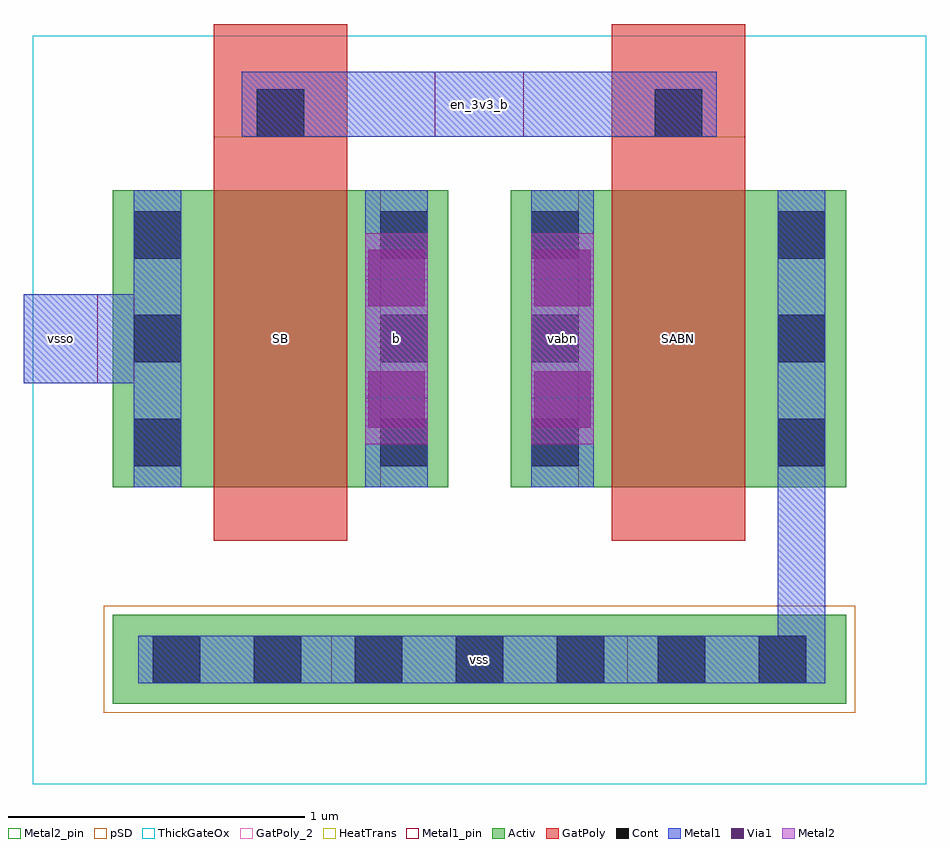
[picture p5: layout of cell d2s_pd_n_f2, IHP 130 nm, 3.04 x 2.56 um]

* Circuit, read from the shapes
.subckt d2s_pd_n_f2 b en_3v3_b vabn vss vsso
XM1 b en_3v3_b vsso vss sg13_hv_nmos w=1u l=0.45u
XM2 vss en_3v3_b vabn vss sg13_hv_nmos w=1u l=0.45u
.ends

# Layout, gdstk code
import gdstk
lib = gdstk.Library(unit=1e-6, precision=1e-09)
def R(c, l, rs):  # rectangles x0, y0, x1, y1
    for r in rs: c.add(gdstk.rectangle(r[:2], r[2:], *l))
def A(c, l, x, y, w, h, nx, ny, dx, dy):  # array of equal rectangles
    R(c, l, [(x+i*dx, y+j*dy, x+i*dx+w, y+j*dy+h) for i in range(nx) for j in range(ny)])
Activ = (1, 0)
GatPoly = (5, 0)
GatPoly_2 = (5, 2)
Cont = (6, 0)
Metal1 = (8, 0)
Metal1_pin = (8, 2)
Metal2 = (10, 0)
Metal2_pin = (10, 2)
pSD = (14, 0)
Via1 = (19, 0)
ThickGateOx = (44, 0)
HeatTrans = (51, 0)

nmoshv = lib.new_cell('nmosHV')
R(nmoshv, Activ, [(0,0,0.3,0.3), (0,0,1.13,1), (0.83,0,1.13,0.3)])
R(nmoshv, GatPoly, [(0.34,-0.18,0.79,1.18)])
R(nmoshv, GatPoly_2, [(0.34,-0.18,0.79,1.18)])
A(nmoshv, Cont, 0.07, 0.07, 0.16, 0.16, 1, 3, 0, 0.35)
A(nmoshv, Cont, 0.9, 0.07, 0.16, 0.16, 1, 3, 0, 0.35)
R(nmoshv, Metal1, [(0.07,0,0.23,1), (0.9,0,1.06,1)])
R(nmoshv, Metal1_pin, [(0.07,0,0.23,1), (0.9,0,1.06,1)])
R(nmoshv, ThickGateOx, [(-0.27,-0.52,1.4,1.52)])
R(nmoshv, HeatTrans, [(0.34,-0.18,0.79,1.18)])
nmoshv.add(gdstk.Label('nmosHV', (0.565,0.5), layer=63, texttype=0))
nmoshv.add(gdstk.Label('nmosHV', (0.565,0.5), layer=51, texttype=0))

d2s_pd_n_f2 = lib.new_cell('d2s_pd_n_f2')
R(d2s_pd_n_f2, Activ, [(0,-0.73,2.47,-0.43)])
R(d2s_pd_n_f2, GatPoly, [(0.34,1,0.79,1.56), (1.68,1,2.13,1.56)])
A(d2s_pd_n_f2, Cont, 0.135, -0.66, 0.16, 0.16, 7, 1, 0.34, 0)
R(d2s_pd_n_f2, Cont, [(0.485,1.18,0.645,1.34), (1.825,1.18,1.985,1.34)])
R(d2s_pd_n_f2, Metal1, [(0.085,-0.66,2.385,-0.5), (2.24,-0.66,2.4,0), (0.85,0,1.06,1), (1.41,0,1.62,1), (-0.3,0.35,0.23,0.65), (0.435,1.18,2.035,1.4)])
R(d2s_pd_n_f2, Metal1_pin, [(0.735,-0.66,1.735,-0.5), (-0.3,0.35,-0.05,0.65), (1.085,1.18,1.385,1.4)])
R(d2s_pd_n_f2, Metal2, [(0.85,0.145,1.06,0.855), (1.41,0.145,1.62,0.855)])
R(d2s_pd_n_f2, Metal2_pin, [(0.85,0.3,1.06,0.7), (1.41,0.3,1.62,0.7)])
R(d2s_pd_n_f2, pSD, [(-0.03,-0.76,2.5,-0.4)])
R(d2s_pd_n_f2, Via1, [(0.86,0.2,1.05,0.39), (1.42,0.2,1.61,0.39), (0.86,0.61,1.05,0.8), (1.42,0.61,1.61,0.8)])
R(d2s_pd_n_f2, ThickGateOx, [(-0.27,-1,2.74,1.27)])
d2s_pd_n_f2.add(gdstk.Reference(nmoshv, (0,0)))
d2s_pd_n_f2.add(gdstk.Reference(nmoshv, (1.34,0)))
d2s_pd_n_f2.add(gdstk.Label('en_3v3_b', (1.235,1.29), layer=8, texttype=25))
d2s_pd_n_f2.add(gdstk.Label('vss', (1.235,-0.58), layer=8, texttype=25))
d2s_pd_n_f2.add(gdstk.Label('vsso', (-0.175,0.5), layer=8, texttype=25))
d2s_pd_n_f2.add(gdstk.Label('b', (0.955,0.5), layer=10, texttype=25))
d2s_pd_n_f2.add(gdstk.Label('vabn', (1.515,0.5), layer=10, texttype=25))
d2s_pd_n_f2.add(gdstk.Label('SB', (0.565,0.5), layer=63, texttype=0))
d2s_pd_n_f2.add(gdstk.Label('SABN', (1.905,0.5), layer=63, texttype=0))

lib.write_gds('d2s_pd_n_f2.gds')
